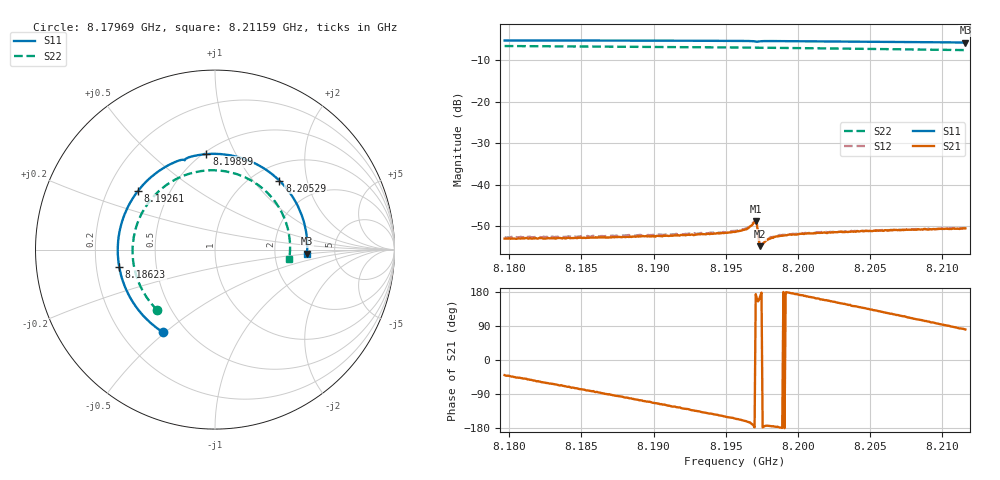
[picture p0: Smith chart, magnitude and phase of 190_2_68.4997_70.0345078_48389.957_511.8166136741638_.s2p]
#  HZ  S  RI  R  50.00
! Rohde & Schwarz Vector Network Analyzer
! Rohde-Schwarz,ZNB20-2Port,1311601062101988,3.16
! Created: UTC 3/20/2024, 4:57:04 PM
! freq[Hz]  re:S11  im:S11  re:S21  im:S21  re:S12  im:S12  re:S22  im:S22
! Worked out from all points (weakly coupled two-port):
!   401 points, 8.17969 GHz to 8.21159 GHz, reference 50 ohm
!   highest |S21| = -48.80 dB at 8.19707 GHz (marker M1); lowest = -54.8 dB at 8.19739 GHz (marker M2)
!   lowest |S11| = -5.8 dB at 8.21159 GHz (marker M3), VSWR 3.11, Z = 155 - j9.71 ohm
!   |S11| at or under -10 dB: nowhere
!   |S22| runs from -7.6 to -6.6 dB; largest |S21 - S12| = 0.00017
!   S11 on the Smith chart (normalised r, x): 8.17969 GHz: 0.38, -0.49; 8.18623 GHz: 0.30, -0.08; 8.19261 GHz: 0.33, +0.30; 8.19899 GHz: 0.52, +0.77; 8.20529 GHz: 1.30, +1.38; 8.21159 GHz: 3.10, -0.19
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8.17969e9  -0.2877 -0.4615  0.00172 -0.00144  0.00178 -0.00151  -0.3213 -0.3377
8.182481e9  -0.4299 -0.3321  0.00114 -0.00195  0.00115 -0.00203  -0.412 -0.2118
8.185033e9  -0.5133 -0.1764  0.000488 -0.00224  0.000453 -0.0023  -0.4541 -0.0769
8.186229e9  -0.5339 -0.0955  0.000166 -0.00231  0.000115 -0.00238  -0.4592 -0.0107
8.188302e9  -0.5394 0.0488  -0.000439 -0.00231  -0.000539 -0.00243  -0.4454 0.1032
8.190375e9  -0.5064 0.1897  -0.00104 -0.00219  -0.00113 -0.00225  -0.4037 0.21
8.192608e9  -0.4299 0.326  -0.00169 -0.00186  -0.00178 -0.00184  -0.3297 0.3093
8.195638e9  -0.2695 0.4649  -0.00244 -0.00116  -0.00255 -0.0011  -0.1914 0.4049
8.196435e9  -0.2179 0.4899  -0.00277 -0.000901  -0.00288 -0.00082  -0.1496 0.4208
8.196914e9  -0.1831 0.5004  -0.00341 -0.000452  -0.0035 -0.000326  -0.1236 0.428
8.197073e9  -0.1712 0.4994  -0.00361 0.000404  -0.00363 0.000577  -0.1148 0.4301
8.197392e9  -0.1612 0.5069  -0.00179 0.000324  -0.00184 0.000399  -0.0977 0.4342
8.197472e9  -0.1557 0.51  -0.00184 7.14e-05  -0.00188 0.000151  -0.0932 0.4349
8.197552e9  -0.1498 0.5127  -0.00192 -6.6e-05  -0.00192 1.91e-05  -0.0889 0.4357
8.19811e9  -0.1098 0.5236  -0.00225 -0.000212  -0.00234 -0.000163  -0.0575 0.44
8.198987e9  -0.0476 0.5323  -0.00244 1.76e-05  -0.00249 9.7e-05  -0.00786 0.4421
8.200981e9  0.093 0.5239  -0.00252 0.00066  -0.00252 0.000777  0.1041 0.4258
8.203054e9  0.2311 0.4761  -0.00231 0.00138  -0.00231 0.00148  0.2127 0.3786
8.205287e9  0.3591 0.384  -0.00186 0.0021  -0.00179 0.0022  0.3115 0.2956
8.206323e9  0.4079 0.3289  -0.00153 0.00239  -0.00143 0.00242  0.3485 0.2473
8.209035e9  0.4944 0.1574  -0.000574 0.00283  -0.000493 0.00293  0.4098 0.0991
8.211586e9  0.5129 -0.0231  0.000494 0.00294  0.000601 0.00295  0.413 -0.0548
